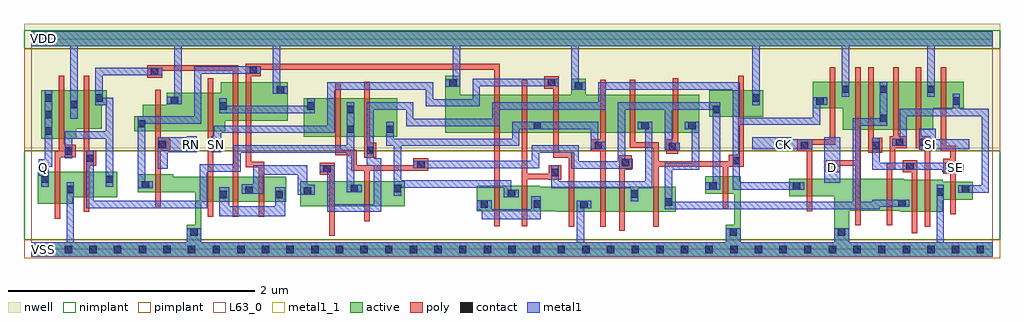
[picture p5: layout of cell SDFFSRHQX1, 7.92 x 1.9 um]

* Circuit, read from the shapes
.subckt SDFFSRHQX1 CK D NW Q RN SE SI SN VDD VSS
M1 VSS n1 Q VSS nfet w=0.26u l=0.045u
M2 n1 n2 VSS VSS nfet w=0.205u l=0.045u
M3 VSS RN n3 VSS nfet w=0.145u l=0.045u
M4 n4 SN VSS VSS nfet w=0.205u l=0.045u
M5 n5 n1 n4 VSS nfet w=0.205u l=0.045u
M6 n4 n3 n5 VSS nfet w=0.205u l=0.045u
M7 n2 n6 n5 VSS nfet w=0.205u l=0.045u
M8 n7 n8 n2 VSS nfet w=0.205u l=0.045u
M9 n7 n3 n9 VSS nfet w=0.205u l=0.045u
M10 n9 n10 n7 VSS nfet w=0.205u l=0.045u
M11 VSS SN n9 VSS nfet w=0.205u l=0.045u
M12 n11 n7 VSS VSS nfet w=0.205u l=0.045u
M13 n10 n8 n11 VSS nfet w=0.205u l=0.045u
M14 n12 n6 n10 VSS nfet w=0.205u l=0.045u
M15 VSS n6 n8 VSS nfet w=0.145u l=0.045u
M16 VSS CK n6 VSS nfet w=0.145u l=0.045u
M17 n13 D VSS VSS nfet w=0.26u l=0.045u
M18 n12 n14 n13 VSS nfet w=0.26u l=0.045u
M19 n15 SE n12 VSS nfet w=0.26u l=0.045u
M20 VSS SI n15 VSS nfet w=0.26u l=0.045u
M21 n14 SE VSS VSS nfet w=0.145u l=0.045u
M22 VDD n1 Q NW pfet w=0.39u l=0.045u
M23 n1 n2 VDD NW pfet w=0.31u l=0.045u
M24 VDD RN n3 NW pfet w=0.215u l=0.045u
M25 n16 SN VDD NW pfet w=0.31u l=0.045u
M26 n17 n1 n16 NW pfet w=0.31u l=0.045u
M27 VDD n3 n17 NW pfet w=0.31u l=0.045u
M28 n2 n8 n16 NW pfet w=0.31u l=0.045u
M29 n7 n6 n2 NW pfet w=0.31u l=0.045u
M30 n18 n3 VDD NW pfet w=0.31u l=0.045u
M31 n7 n10 n18 NW pfet w=0.31u l=0.045u
M32 VDD SN n7 NW pfet w=0.31u l=0.045u
M33 n19 n7 VDD NW pfet w=0.31u l=0.045u
M34 n10 n6 n19 NW pfet w=0.31u l=0.045u
M35 n12 n8 n10 NW pfet w=0.31u l=0.045u
M36 VDD n6 n8 NW pfet w=0.215u l=0.045u
M37 VDD CK n6 NW pfet w=0.215u l=0.045u
M38 n20 D VDD NW pfet w=0.39u l=0.045u
M39 n12 SE n20 NW pfet w=0.39u l=0.045u
M40 n21 n14 n12 NW pfet w=0.39u l=0.045u
M41 VDD SI n21 NW pfet w=0.39u l=0.045u
M42 n14 SE VDD NW pfet w=0.215u l=0.045u
.ends

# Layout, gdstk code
import gdstk
lib = gdstk.Library(unit=1e-6, precision=5e-10)
def R(c, l, rs):  # rectangles x0, y0, x1, y1
    for r in rs: c.add(gdstk.rectangle(r[:2], r[2:], *l))
def A(c, l, x, y, w, h, nx, ny, dx, dy):  # array of equal rectangles
    R(c, l, [(x+i*dx, y+j*dy, x+i*dx+w, y+j*dy+h) for i in range(nx) for j in range(ny)])
def P(c, l, *ps):  # polygons
    for p in ps: c.add(gdstk.Polygon(p, *l))
active = (1, 0)
nwell = (2, 0)
poly = (3, 0)
nimplant = (4, 0)
pimplant = (5, 0)
contact = (6, 0)
metal1 = (7, 0)
metal1_1 = (7, 1)
L63_0 = (63, 0)

sdffsrhqx1 = lib.new_cell('SDFFSRHQX1')
R(sdffsrhqx1, active, [(0,-0.06,7.8,0.06), (2.18,0.35,3.03,0.555), (2.21,0.915,2.97,1.225), (5.5,1.075,5.94,1.29), (0,1.65,7.8,1.77)])
P(sdffsrhqx1, active, [(0.08,1.29),(0.61,1.29),(0.61,1.17),(0.57,1.17),(0.57,0.98),(0.365,0.98),(0.365,0.9),(0.08,0.9)],
  [(1.535,1.355),(2.08,1.355),(2.08,1.045),(1.575,1.045),(1.575,0.96),(0.835,0.96),(0.835,1.08),(0.905,1.08),(0.905,1.175),(1.1,1.175),(1.1,1.27),(1.535,1.27)],
  [(3.36,1.41),(3.48,1.41),(3.48,1.255),(4.38,1.255),(4.38,1.385),(4.5,1.385),(4.5,1.255),(5.42,1.255),(5.42,0.945),(3.36,0.945)],
  [(6.34,1.36),(7.565,1.36),(7.565,1.145),(7.32,1.145),(7.32,0.97),(6.585,0.97),(6.585,1.145),(6.34,1.145)],
  [(0.05,0.63),(0.695,0.63),(0.695,0.425),(0.335,0.425),(0.335,0.37),(0.05,0.37)],
  [(7.64,0.55),(7.395,0.55),(7.395,0.565),(7.085,0.565),(7.085,0.575),(6.15,0.575),(6.15,0.43),(6.515,0.43),(6.515,0.06),(6.635,0.06),(6.635,0.315),(7.045,0.315),(7.045,0.305),(7.395,0.305),(7.395,0.405),(7.64,0.405)],
  [(3.615,0.515),(4.125,0.515),(4.125,0.51),(5.23,0.51),(5.23,0.305),(4.26,0.305),(4.26,0.31),(3.615,0.31)],
  [(5.755,0.595),(5.47,0.595),(5.47,0.45),(5.705,0.45),(5.705,0.2),(5.635,0.2),(5.635,0.06),(5.755,0.06)],
  [(2.07,0.59),(1.15,0.59),(1.15,0.61),(0.865,0.61),(0.865,0.465),(1.33,0.465),(1.33,0.2),(1.26,0.2),(1.26,0.06),(1.38,0.06),(1.38,0.385),(2.07,0.385)])
R(sdffsrhqx1, nwell, [(-0.06,0.82,7.86,1.83), (0,1.61,0.05,1.71)])
P(sdffsrhqx1, poly, [(0.22,1.41),(0.265,1.41),(0.265,0.85),(0.36,0.85),(0.36,0.75),(0.235,0.75),(0.235,0.25),(0.19,0.25),(0.19,0.795),(0.22,0.795)],
  [(0.425,1.41),(0.47,1.41),(0.47,0.8),(0.525,0.8),(0.525,0.68),(0.47,0.68),(0.47,0.305),(0.425,0.305)],
  [(0.94,1.495),(1.68,1.495),(1.68,0.265),(1.635,0.265),(1.635,1.45),(1.06,1.45),(1.06,1.395),(0.94,1.395)],
  [(1.74,1.505),(3.8,1.505),(3.8,0.19),(3.755,0.19),(3.755,1.46),(1.86,1.46),(1.86,1.405),(1.785,1.405),(1.785,0.71),(1.89,0.71),(1.89,0.265),(1.845,0.265),(1.845,0.665),(1.74,0.665)],
  [(1.43,1.39),(1.475,1.39),(1.475,0.9),(1.55,0.9),(1.55,0.8),(1.475,0.8),(1.475,0.265),(1.43,0.265)],
  [(4.16,1.405),(4.28,1.405),(4.28,0.79),(4.405,0.79),(4.405,0.185),(4.36,0.185),(4.36,0.745),(4.235,0.745),(4.235,1.305),(4.16,1.305)],
  [(1.005,1.295),(1.05,1.295),(1.05,0.9),(1.125,0.9),(1.125,0.8),(1.05,0.8),(1.05,0.345),(1.005,0.345)],
  [(2.465,1.345),(2.51,1.345),(2.51,0.81),(2.64,0.81),(2.64,0.685),(3.1,0.685),(3.1,0.74),(3.22,0.74),(3.22,0.64),(2.745,0.64),(2.745,0.23),(2.7,0.23),(2.7,0.64),(2.595,0.64),(2.595,0.765),(2.465,0.765)],
  [(2.7,1.36),(2.745,1.36),(2.745,0.865),(2.8,0.865),(2.8,0.745),(2.7,0.745)],
  [(3.98,1.375),(4.025,1.375),(4.025,0.615),(4.2,0.615),(4.2,0.685),(4.3,0.685),(4.3,0.565),(4.2,0.565),(4.2,0.57),(4.025,0.57),(4.025,0.19),(3.98,0.19)],
  [(4.615,1.375),(4.66,1.375),(4.66,0.185),(4.615,0.185),(4.615,0.795),(4.54,0.795),(4.54,0.895),(4.615,0.895)],
  [(4.855,1.375),(4.9,1.375),(4.9,0.87),(5.09,0.87),(5.09,0.715),(5.66,0.715),(5.66,0.77),(5.735,0.77),(5.735,1.41),(5.78,1.41),(5.78,0.67),(5.655,0.67),(5.655,0.33),(5.61,0.33),(5.61,0.67),(5.09,0.67),(5.09,0.185),(5.045,0.185),(5.045,0.825),(4.855,0.825)],
  [(5.205,1.39),(5.25,1.39),(5.25,0.775),(5.15,0.775),(5.15,0.895),(5.205,0.895)],
  [(6.48,1.48),(6.525,1.48),(6.525,0.85),(6.335,0.85),(6.335,0.31),(6.29,0.31),(6.29,0.795),(6.215,0.795),(6.215,0.895),(6.48,0.895)],
  [(6.685,1.48),(6.73,1.48),(6.73,0.195),(6.685,0.195),(6.685,0.68),(6.565,0.68),(6.565,0.625),(6.445,0.625),(6.445,0.725),(6.685,0.725)],
  [(6.79,1.48),(6.835,1.48),(6.835,0.905),(6.905,0.905),(6.905,0.785),(6.79,0.785)],
  [(6.995,1.48),(7.04,1.48),(7.04,0.92),(7.105,0.92),(7.105,0.82),(7.01,0.82),(7.01,0.65),(6.985,0.65),(6.985,0.195),(6.94,0.195),(6.94,0.695),(6.965,0.695),(6.965,0.92),(6.995,0.92)],
  [(7.175,1.48),(7.22,1.48),(7.22,0.92),(7.295,0.92),(7.295,0.185),(7.25,0.185),(7.25,0.82),(7.175,0.82)],
  [(7.38,1.48),(7.425,1.48),(7.425,0.84),(7.5,0.84),(7.5,0.285),(7.455,0.285),(7.455,0.615),(7.4,0.615),(7.4,0.735),(7.455,0.735),(7.455,0.795),(7.38,0.795)],
  [(2.34,0.705),(2.46,0.705),(2.46,0.11),(2.415,0.11),(2.415,0.605),(2.34,0.605)],
  [(4.77,0.765),(4.87,0.765),(4.87,0.645),(4.815,0.645),(4.815,0.15),(4.77,0.15)],
  [(7.07,0.725),(7.19,0.725),(7.19,0.13),(7.145,0.13),(7.145,0.625),(7.07,0.625)])
R(sdffsrhqx1, nimplant, [(-0.06,0.08,7.86,0.8), (-0.06,1.63,7.86,1.78)])
R(sdffsrhqx1, pimplant, [(-0.06,-0.07,7.86,0.08), (-0.06,0.8,7.86,1.63)])
A(sdffsrhqx1, contact, 0.07, -0.03, 0.06, 0.06, 39, 1, 0.2, 0)
A(sdffsrhqx1, contact, 0.11, 0.93, 0.06, 0.06, 1, 3, 0, 0.135)
R(sdffsrhqx1, contact, [(1.29,0.11,1.35,0.17), (5.665,0.11,5.725,0.17), (6.545,0.11,6.605,0.17), (4.455,0.335,4.515,0.395), (3.645,0.34,3.705,0.4), (4.075,0.34,4.135,0.4), (7.035,0.345,7.095,0.405), (5.14,0.355,5.2,0.415), (1.525,0.415,1.585,0.475), (1.98,0.415,2.04,0.475), (4.865,0.42,4.925,0.48), (3.865,0.425,3.925,0.485), (7.345,0.435,7.405,0.495), (2.21,0.445,2.27,0.505), (1.735,0.45,1.795,0.51), (0.285,0.455,0.345,0.515), (7.55,0.46,7.61,0.52), (2.59,0.465,2.65,0.525), (2.94,0.465,3,0.525), (5.5,0.485,5.56,0.545), (6.18,0.485,6.24,0.545), (0.895,0.495,0.955,0.555), (0.08,0.54,0.14,0.6), (0.605,0.54,0.665,0.6), (4.22,0.595,4.28,0.655), (2.37,0.625,2.43,0.685), (6.475,0.645,6.535,0.705), (7.1,0.645,7.16,0.705), (7.42,0.645,7.48,0.705), (3.13,0.66,3.19,0.72), (4.79,0.675,4.85,0.735), (5.69,0.69,5.75,0.75), (0.445,0.71,0.505,0.77), (0.27,0.77,0.33,0.83), (2.72,0.775,2.78,0.835), (5.17,0.805,5.23,0.865), (4.57,0.815,4.63,0.875), (6.245,0.815,6.305,0.875), (6.825,0.815,6.885,0.875), (1.035,0.82,1.095,0.88), (1.46,0.82,1.52,0.88), (7.015,0.84,7.075,0.9), (7.205,0.84,7.265,0.9), (2.56,0.945,2.62,1.005), (2.88,0.945,2.94,1.005), (4.075,0.975,4.135,1.035), (4.95,0.975,5.01,1.035), (5.33,0.975,5.39,1.035), (0.865,0.99,0.925,1.05), (6.885,1.035,6.945,1.095), (2.56,1.105,2.62,1.165), (5.53,1.105,5.59,1.165), (1.525,1.135,1.585,1.195), (2.24,1.135,2.3,1.195), (0.315,1.145,0.375,1.205), (6.37,1.175,6.43,1.235), (7.475,1.175,7.535,1.235), (1.13,1.18,1.19,1.24), (0.52,1.2,0.58,1.26), (5.85,1.2,5.91,1.26), (1.99,1.265,2.05,1.325), (6.575,1.27,6.635,1.33), (6.885,1.27,6.945,1.33), (7.27,1.27,7.33,1.33), (4.41,1.295,4.47,1.355), (3.39,1.32,3.45,1.38), (4.19,1.325,4.25,1.385), (0.97,1.415,1.03,1.475), (1.77,1.425,1.83,1.485)])
R(sdffsrhqx1, metal1, [(0.285,0.06,0.345,0.545), (1.26,0.06,1.38,0.17), (5.635,0.06,5.755,0.17), (6.515,0.06,6.635,0.17), (7.345,0.06,7.405,0.525), (6.435,0.54,6.565,0.91), (0.315,1.06,0.375,1.65), (5.85,1.17,5.91,1.65), (6.575,1.24,6.635,1.65), (7.27,1.24,7.33,1.65)])
P(sdffsrhqx1, metal1, [(1.22,1.65),(1.16,1.65),(1.16,1.24),(1.1,1.24),(1.1,1.18),(1.22,1.18)],
  [(2.08,1.325),(2.02,1.325),(2.02,1.65),(1.96,1.65),(1.96,1.265),(2.08,1.265)],
  [(3.48,1.65),(3.42,1.65),(3.42,1.38),(3.36,1.38),(3.36,1.32),(3.48,1.32)],
  [(4.5,1.355),(4.44,1.355),(4.44,1.65),(4.38,1.65),(4.38,1.295),(4.5,1.295)],
  [(4.545,0.395),(4.425,0.395),(4.425,0.06),(4.485,0.06),(4.485,0.335),(4.545,0.335)],
  [(0.11,1.29),(0.17,1.29),(0.17,0.67),(0.14,0.67),(0.14,0.51),(0.08,0.51),(0.08,0.6),(0.06,0.6),(0.06,0.73),(0.11,0.73)],
  [(0.52,1.475),(1.06,1.475),(1.06,1.415),(0.58,1.415),(0.58,1.23),(0.665,1.23),(0.665,0.51),(0.605,0.51),(0.605,0.9),(0.33,0.9),(0.33,0.74),(0.27,0.74),(0.27,0.96),(0.605,0.96),(0.605,1.17),(0.52,1.17)],
  [(1.32,1.485),(1.86,1.485),(1.86,1.425),(1.38,1.425),(1.38,1.02),(0.925,1.02),(0.925,0.555),(0.985,0.555),(0.985,0.495),(0.865,0.495),(0.865,1.08),(1.32,1.08)],
  [(2.4,1.355),(3.26,1.355),(3.26,1.22),(3.58,1.22),(3.58,1.385),(4.28,1.385),(4.28,1.325),(3.64,1.325),(3.64,1.16),(3.2,1.16),(3.2,1.295),(2.46,1.295),(2.46,0.945),(1.54,0.945),(1.54,0.79),(1.46,0.79),(1.46,0.92),(1.48,0.92),(1.48,1.005),(2.4,1.005)],
  [(2.56,1.195),(2.62,1.195),(2.62,0.525),(2.68,0.525),(2.68,0.465),(2.56,0.465),(2.56,0.785),(1.7,0.785),(1.7,0.63),(1.425,0.63),(1.425,0.335),(0.445,0.335),(0.445,0.8),(0.505,0.8),(0.505,0.395),(1.365,0.395),(1.365,0.69),(1.64,0.69),(1.64,0.845),(2.56,0.845)],
  [(1.525,1.225),(1.585,1.225),(1.585,1.165),(2.24,1.165),(2.24,1.225),(2.3,1.225),(2.3,1.105),(1.525,1.105)],
  [(1.26,0.92),(1.34,0.92),(1.34,0.79),(1.105,0.79),(1.105,0.655),(1.025,0.655),(1.025,0.91),(1.26,0.91)],
  [(1.8,0.685),(2.24,0.685),(2.24,0.525),(2.3,0.525),(2.3,0.445),(2.16,0.445),(2.16,0.605),(1.88,0.605),(1.88,0.45),(1.705,0.45),(1.705,0.53),(1.8,0.53)],
  [(4.6,1.355),(5.75,1.355),(5.75,1.07),(6.34,1.07),(6.34,1.235),(6.46,1.235),(6.46,1.175),(6.4,1.175),(6.4,1.01),(5.75,1.01),(5.75,0.545),(6.27,0.545),(6.27,0.485),(5.69,0.485),(5.69,1.295),(4.66,1.295),(4.66,1.135),(3.8,1.135),(3.8,1),(3.04,1),(3.04,1.135),(2.78,1.135),(2.78,0.74),(2.84,0.74),(2.84,0.305),(2.4,0.305),(2.4,0.625),(2.34,0.625),(2.34,0.685),(2.46,0.685),(2.46,0.365),(2.78,0.365),(2.78,0.68),(2.72,0.68),(2.72,1.195),(3.1,1.195),(3.1,1.06),(3.74,1.06),(3.74,1.195),(4.6,1.195)],
  [(1.525,0.505),(1.605,0.505),(1.605,0.35),(1.98,0.35),(1.98,0.505),(2.06,0.505),(2.06,0.27),(1.525,0.27)],
  [(2.88,1.035),(2.94,1.035),(2.94,0.9),(3.9,0.9),(3.9,1.035),(4.6,1.035),(4.6,0.875),(4.66,0.875),(4.66,0.815),(4.54,0.815),(4.54,0.975),(3.96,0.975),(3.96,0.84),(3,0.84),(3,0.56),(3.895,0.56),(3.895,0.485),(3.955,0.485),(3.955,0.425),(3.835,0.425),(3.835,0.5),(3,0.5),(3,0.435),(2.94,0.435),(2.94,0.84),(2.88,0.84)],
  [(4.76,1.195),(5.59,1.195),(5.59,0.485),(5.47,0.485),(5.47,0.545),(5.53,0.545),(5.53,1.135),(5.2,1.135),(5.2,0.865),(5.26,0.865),(5.26,0.805),(5.14,0.805),(5.14,1.135),(4.82,1.135),(4.82,0.735),(4.88,0.735),(4.88,0.655),(4.38,0.655),(4.38,0.785),(4.12,0.785),(4.12,0.66),(3.1,0.66),(3.1,0.72),(4.06,0.72),(4.06,0.845),(4.44,0.845),(4.44,0.715),(4.76,0.715)],
  [(4.92,1.035),(5.04,1.035),(5.04,0.495),(4.925,0.495),(4.925,0.39),(4.865,0.39),(4.865,0.495),(4.22,0.495),(4.22,0.685),(4.28,0.685),(4.28,0.555),(4.98,0.555),(4.98,0.975),(4.92,0.975)],
  [(6.885,1.36),(6.945,1.36),(6.945,1.005),(6.725,1.005),(6.725,0.385),(6.825,0.385),(6.825,0.405),(7.125,0.405),(7.125,0.345),(6.885,0.345),(6.885,0.325),(5.14,0.325),(5.14,0.705),(5.36,0.705),(5.36,0.975),(5.3,0.975),(5.3,1.035),(5.42,1.035),(5.42,0.645),(5.2,0.645),(5.2,0.385),(6.665,0.385),(6.665,1.065),(6.885,1.065)],
  [(3.615,0.4),(3.735,0.4),(3.735,0.325),(4.055,0.325),(4.055,0.43),(4.135,0.43),(4.135,0.245),(3.655,0.245),(3.655,0.32),(3.615,0.32)],
  [(7.475,1.265),(7.535,1.265),(7.535,1.14),(7.77,1.14),(7.77,0.46),(7.52,0.46),(7.52,0.52),(7.71,0.52),(7.71,1.08),(7.105,1.08),(7.105,0.84),(6.985,0.84),(6.985,0.9),(7.045,0.9),(7.045,1.14),(7.475,1.14)],
  [(5.85,0.91),(6.165,0.91),(6.165,0.895),(6.335,0.895),(6.335,0.815),(5.85,0.815)],
  [(6.825,0.905),(6.885,0.905),(6.885,0.705),(7.565,0.705),(7.565,0.625),(7.39,0.625),(7.39,0.645),(6.825,0.645)],
  [(7.205,0.98),(7.34,0.98),(7.34,0.895),(7.61,0.895),(7.61,0.815),(7.34,0.815),(7.34,0.805),(7.235,0.805),(7.235,0.81),(7.205,0.81)])
R(sdffsrhqx1, metal1_1, [(0.06,-0.04,0.14,0.04), (0.06,0.625,0.14,0.705), (6.46,0.625,6.54,0.705), (7.46,0.625,7.54,0.705), (1.26,0.815,1.34,0.895), (1.46,0.815,1.54,0.895), (6.06,0.815,6.14,0.895), (7.26,0.815,7.34,0.895), (0.06,1.67,0.14,1.75)])
R(sdffsrhqx1, L63_0, [(0,0,7.8,1.71)])
sdffsrhqx1.add(gdstk.FlexPath([(0,0),(7.8,0)], 0.12, ends="flush", simple_path=True, layer=7, datatype=0))  # metal1
sdffsrhqx1.add(gdstk.FlexPath([(0,1.71),(7.8,1.71)], 0.12, ends="flush", simple_path=True, layer=7, datatype=0))  # metal1
sdffsrhqx1.add(gdstk.Label('Q', (0.1,0.665), layer=7, texttype=1))
sdffsrhqx1.add(gdstk.Label('SE', (7.5,0.665), layer=7, texttype=1))
sdffsrhqx1.add(gdstk.Label('SI', (7.3,0.855), layer=7, texttype=1))
sdffsrhqx1.add(gdstk.Label('D', (6.5,0.665), layer=7, texttype=1))
sdffsrhqx1.add(gdstk.Label('CK', (6.1,0.855), layer=7, texttype=1))
sdffsrhqx1.add(gdstk.Label('SN', (1.5,0.855), layer=7, texttype=1))
sdffsrhqx1.add(gdstk.Label('RN', (1.3,0.855), layer=7, texttype=1))
sdffsrhqx1.add(gdstk.Label('VDD', (0.1,1.71), layer=7, texttype=1))
sdffsrhqx1.add(gdstk.Label('VSS', (0.1,0), layer=7, texttype=1))
sdffsrhqx1.add(gdstk.Label('VSS', (0.1,0), layer=7, texttype=1))
sdffsrhqx1.add(gdstk.Label('VDD', (0.1,1.71), layer=7, texttype=1))
sdffsrhqx1.add(gdstk.Label('RN', (1.3,0.855), layer=7, texttype=1))
sdffsrhqx1.add(gdstk.Label('SN', (1.5,0.855), layer=7, texttype=1))
sdffsrhqx1.add(gdstk.Label('CK', (6.1,0.855), layer=7, texttype=1))
sdffsrhqx1.add(gdstk.Label('D', (6.5,0.665), layer=7, texttype=1))
sdffsrhqx1.add(gdstk.Label('SI', (7.3,0.855), layer=7, texttype=1))
sdffsrhqx1.add(gdstk.Label('SE', (7.5,0.665), layer=7, texttype=1))
sdffsrhqx1.add(gdstk.Label('Q', (0.1,0.665), layer=7, texttype=1))
sdffsrhqx1.add(gdstk.Label('SDFFSRHQX1', (0,0), layer=63, texttype=0))
sdffsrhqx1.add(gdstk.Label('NW', (0.025,1.66), layer=2, texttype=0))
sdffsrhqx1.add(gdstk.Label('NW', (0.025,1.63), layer=2, texttype=0))

lib.write_gds('SDFFSRHQX1.gds')
